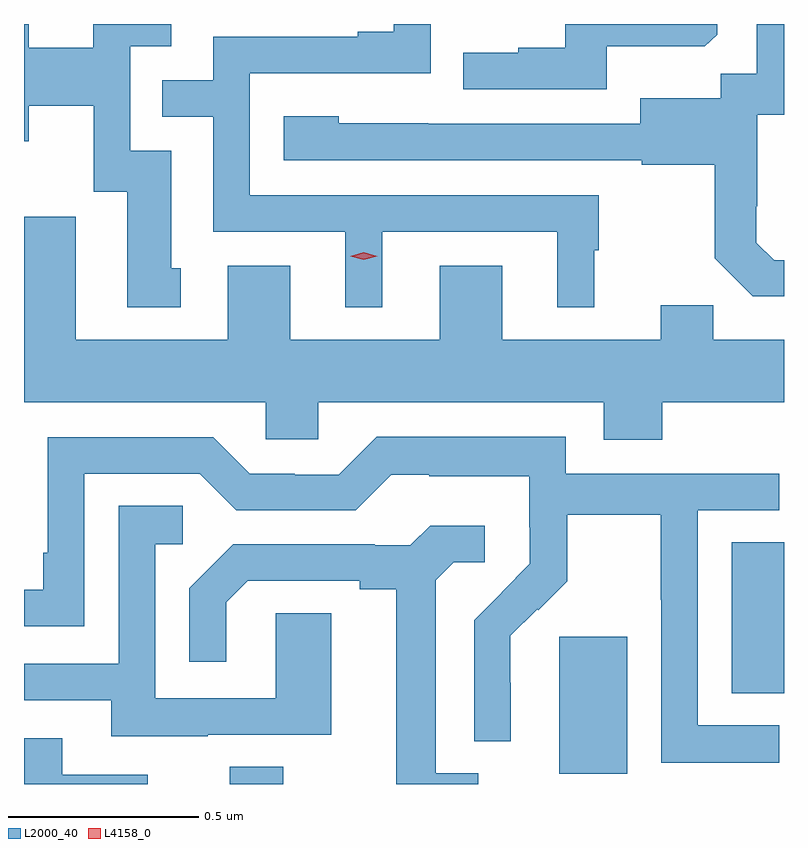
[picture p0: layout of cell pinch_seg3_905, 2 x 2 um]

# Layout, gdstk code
import gdstk
lib = gdstk.Library(unit=1e-6, precision=1e-09)
def R(c, l, rs):  # rectangles x0, y0, x1, y1
    for r in rs: c.add(gdstk.rectangle(r[:2], r[2:], *l))
def P(c, l, *ps):  # polygons
    for p in ps: c.add(gdstk.Polygon(p, *l))
L2000_40 = (2000, 40)
L4158_0 = (4158, 0)

pinch_seg3_905 = lib.new_cell('pinch_seg3_905')
R(pinch_seg3_905, L2000_40, [(816.713,689.255,816.853,689.3), (817.58,689.282,817.759,689.643), (818.033,689.494,818.171,689.891)])
P(pinch_seg3_905, L2000_40, [(816.583,690.612),(816.559,690.612),(816.559,690.921),(816.45,690.921),(816.45,691.197),(816.559,691.197),(816.559,691.255),(816.353,691.255),(816.353,691.192),(816.184,691.192),(816.184,691.255),(816.171,691.255),(816.171,690.947),(816.184,690.947),(816.184,691.04),(816.354,691.04),(816.354,690.813),(816.443,690.813),(816.443,690.51),(816.583,690.51)],
  [(817.114,690.708),(817.574,690.708),(817.574,690.509),(817.672,690.509),(817.672,690.66),(817.684,690.66),(817.684,690.804),(816.765,690.804),(816.765,691.125),(817.242,691.125),(817.242,691.255),(817.144,691.255),(817.144,691.234),(817.049,691.234),(817.049,691.221),(816.669,691.221),(816.669,691.107),(816.535,691.107),(816.535,691.011),(816.669,691.011),(816.669,690.708),(817.016,690.708),(817.016,690.509),(817.114,690.509)],
  [(818.171,690.633),(818.145,690.633),(818.098,690.68),(818.098,690.775),(818.1,690.775),(818.1,691.016),(818.171,691.016),(818.171,691.255),(818.099,691.255),(818.099,691.124),(818.004,691.124),(818.004,691.06),(817.793,691.06),(817.793,690.993),(817.235,690.993),(817.235,690.994),(816.999,690.994),(816.999,691.012),(816.855,691.012),(816.855,690.897),(817.797,690.897),(817.797,690.885),(817.989,690.885),(817.989,690.639),(818.089,690.539),(818.171,690.539)],
  [(817.705,691.196),(817.963,691.196),(817.995,691.227),(817.995,691.255),(817.595,691.255),(817.595,691.192),(817.471,691.192),(817.471,691.18),(817.327,691.18),(817.327,691.083),(817.705,691.083)],
  [(817.85,690.26),(818.171,690.26),(818.171,690.424),(817.985,690.424),(817.985,690.515),(817.847,690.515),(817.847,690.424),(817.429,690.424),(817.429,690.619),(817.265,690.619),(817.265,690.424),(816.871,690.424),(816.871,690.619),(816.707,690.619),(816.707,690.424),(816.307,690.424),(816.307,690.748),(816.171,690.748),(816.171,690.26),(816.807,690.26),(816.807,690.162),(816.945,690.162),(816.945,690.26),(817.697,690.26),(817.697,690.161),(817.85,690.161)],
  [(818.158,689.409),(817.944,689.409),(817.944,689.976),(818.158,689.976),(818.158,690.072),(817.596,690.072),(817.596,690.169),(817.099,690.169),(816.999,690.069),(816.884,690.069),(816.884,690.072),(816.765,690.072),(816.669,690.168),(816.234,690.168),(816.234,689.863),(816.221,689.863),(816.221,689.766),(816.171,689.766),(816.171,689.67),(816.33,689.67),(816.33,690.072),(816.633,690.072),(816.729,689.976),(817.044,689.976),(817.137,690.069),(817.237,690.069),(817.237,690.065),(817.5,690.065),(817.5,689.931),(817.502,689.931),(817.502,689.834),(817.428,689.76),(817.429,689.759),(817.356,689.686),(817.356,689.368),(817.452,689.368),(817.452,689.522),(817.451,689.522),(817.451,689.645),(817.521,689.715),(817.524,689.712),(817.601,689.789),(817.601,689.964),(817.846,689.964),(817.846,689.74),(817.848,689.74),(817.848,689.311),(818.158,689.311)],
  [(816.655,689.385),(816.979,689.385),(816.979,689.705),(816.834,689.705),(816.834,689.481),(816.516,689.481),(816.516,689.886),(816.589,689.886),(816.589,689.987),(816.42,689.987),(816.42,689.571),(816.171,689.571),(816.171,689.475),(816.401,689.475),(816.401,689.381),(816.655,689.381)],
  [(817.366,689.283),(817.255,689.283),(817.255,689.791),(817.302,689.838),(817.384,689.838),(817.384,689.935),(817.24,689.935),(817.188,689.883),(817.094,689.883),(817.094,689.886),(816.722,689.886),(816.606,689.77),(816.606,689.577),(816.703,689.577),(816.703,689.733),(816.76,689.79),(817.055,689.79),(817.055,689.768),(817.151,689.768),(817.151,689.255),(817.366,689.255)],
  [(816.496,689.28),(816.271,689.28),(816.271,689.376),(816.171,689.376),(816.171,689.255),(816.496,689.255)])
P(pinch_seg3_905, L4158_0, [(817.065,690.634),(817.029,690.644),(817.029,690.644),(817.029,690.644),(817.065,690.654),(817.101,690.644),(817.101,690.644),(817.101,690.644)])

lib.write_gds('pinch_seg3_905.gds')
